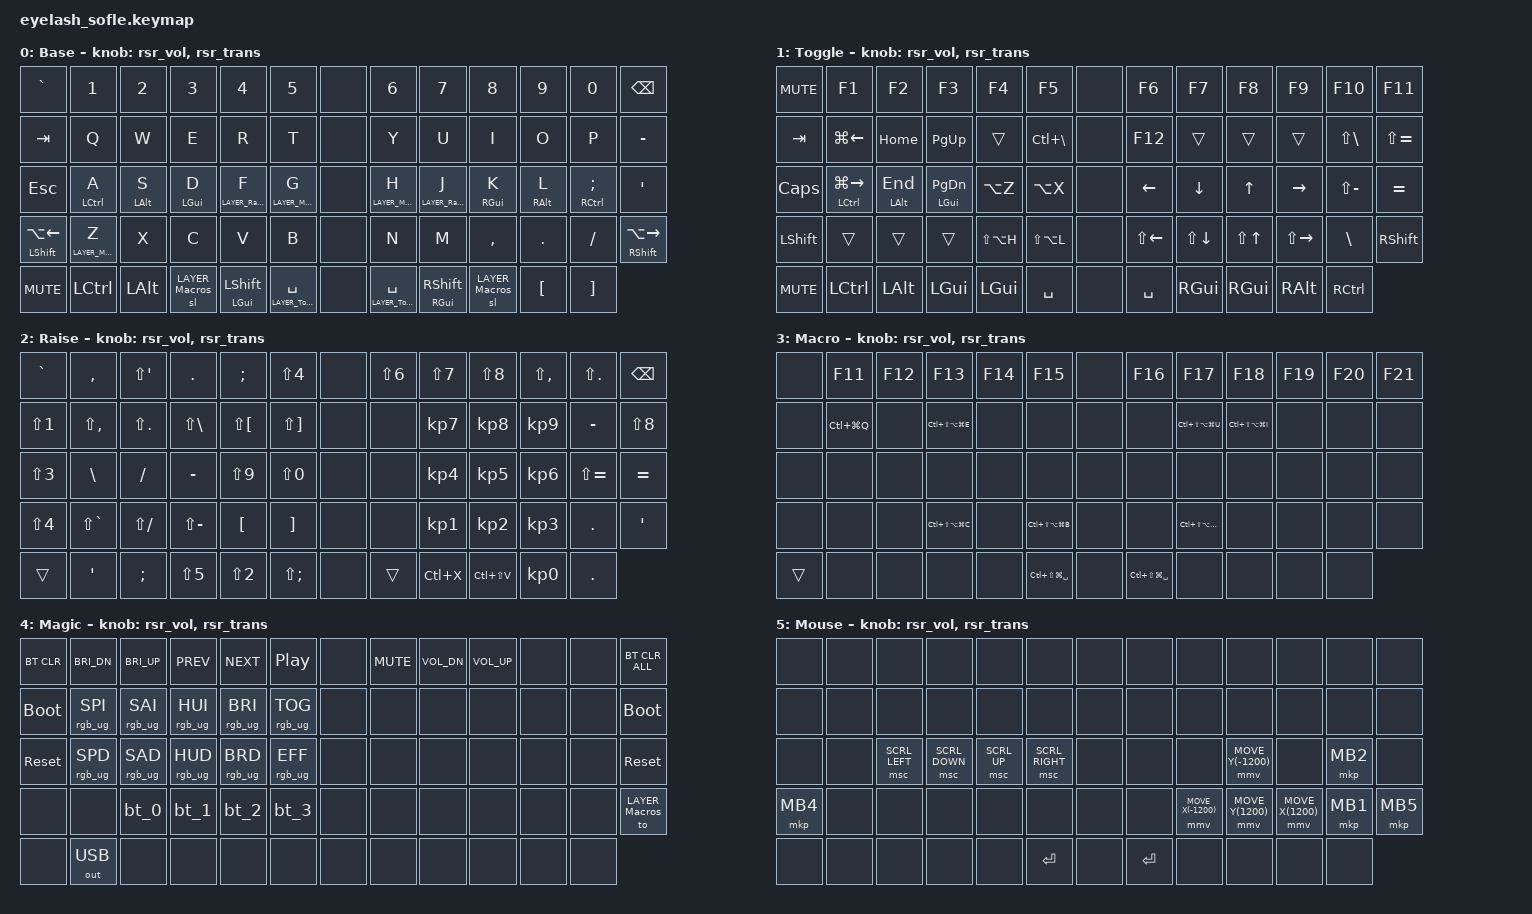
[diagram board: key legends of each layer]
#include <input/processors.dtsi>
#include <zephyr/dt-bindings/input/input-event-codes.h>
#include <behaviors.dtsi>
#include <dt-bindings/zmk/bt.h>
#include <dt-bindings/zmk/keys.h>
#include <dt-bindings/zmk/outputs.h>
#include <dt-bindings/zmk/pointing.h>
#include <dt-bindings/zmk/rgb.h>
#include <behaviors/runtime-sensor-rotate.dtsi>

/* Layer defines */
#define LAYER_Base 0
#define LAYER_Toggles 1
#define LAYER_Raise 2
#define LAYER_Macros 3
#define LAYER_Magic 4
#define LAYER_Mouse 5

/*
 * Sofle Eyelash key index reference (64 keys total):
 *
 * Row 0 (13):  0   1   2   3   4   5  |  6  |  7   8   9  10  11  12
 * Row 1 (13): 13  14  15  16  17  18  | 19  | 20  21  22  23  24  25
 * Row 2 (13): 26  27  28  29  30  31  | 32  | 33  34  35  36  37  38
 * Row 3 (13): 39  40  41  42  43  44  | 45  | 46  47  48  49  50  51
 * Row 4 (12): 52  53  54  55  56  57  | 58  | 59  60  61  62  63
 *                                 ENC  MOD  MOD  MOD  THM  THM  (inner)  THM  THM  MOD  MOD  MOD
 *
 * Indices 6, 19, 32, 45, 58 = inner column (unused, set to &none)
 */

/* ───────────────────────── Sofle Hardware Config ───────────────────────── */

/ {
    zip_scroll_scaler: zip_scroll_scaler {
        compatible = "zmk,input-processor-scaler";
        #input-processor-cells = <2>;
        type = <INPUT_EV_REL>;
        codes = <INPUT_REL_WHEEL INPUT_REL_HWHEEL>;
        track-remainders;
    };
};

&mmv_input_listener { input-processors = <&zip_xy_scaler 2 1>; };
&msc_input_listener { input-processors = <&zip_scroll_scaler 2 1>; };

&msc {
    acceleration-exponent = <0>;
    time-to-max-speed-ms = <0>;
    delay-ms = <0>;
};

&mmv {
    time-to-max-speed-ms = <400>;
    acceleration-exponent = <1>;
};

&soft_off { hold-time-ms = <2000>; };

/* ───────────────────────── Behaviors ───────────────────────── */

/ {
    behaviors {
        /* Encoder rotation behaviors (Sofle-specific) */
        rsr_vol: rsr_vol {
            compatible = "zmk,behavior-runtime-sensor-rotate";
            #sensor-binding-cells = <0>;
            tap-ms = <5>;
            cw-binding = <&kp C_VOL_UP>;
            ccw-binding = <&kp C_VOL_DN>;
        };

        rsr_trans: rsr_trans {
            compatible = "zmk,behavior-runtime-sensor-rotate";
            #sensor-binding-cells = <0>;
            tap-ms = <0>;
        };

        /* Optimized layer-tap — used for Magic/Z key (tap=Z, hold=Magic layer) */
        lt_optimized: layer_tap_optimized {
            compatible = "zmk,behavior-hold-tap";
            #binding-cells = <2>;
            flavor = "balanced";
            tapping-term-ms = <175>;
            quick-tap-ms = <150>;
            require-prior-idle-ms = <125>;
            bindings = <&mo>, <&kp>;
        };

        /* Sticky shift with quick release */
        skq: sticky_shift_quick {
            compatible = "zmk,behavior-sticky-key";
            #binding-cells = <1>;
            bindings = <&kp>;
            release-after-ms = <1000>;
            quick-release;
        };

        /* Hold = Cmd, Tap = Sticky Shift */
        cmd_sticky_shift: cmd_sticky_shift {
            compatible = "zmk,behavior-hold-tap";
            #binding-cells = <2>;
            flavor = "tap-preferred";
            tapping-term-ms = <200>;
            quick-tap-ms = <175>;
            bindings = <&kp>, <&skq>;
        };

        /* Left-hand home row mod — triggers only on right-hand key positions */
        HRM_Hold_Tap_lha: HRM_Hold_Tap_lha {
            compatible = "zmk,behavior-hold-tap";
            #binding-cells = <2>;
            tapping-term-ms = <280>;
            bindings = <&kp>, <&kp>;
            flavor = "balanced";
            quick-tap-ms = <175>;
            require-prior-idle-ms = <150>;
            hold-trigger-key-positions = <
                7  8  9  10 11 12
                20 21 22 23 24 25
                33 34 35 36 37 38
                46 47 48 49 50 51
                59 60 61 62 63
            >;
            hold-trigger-on-release;
        };

        /* Right-hand home row mod — triggers only on left-hand key positions */
        HRM_Hold_Tap_rh: HRM_Hold_Tap_rh {
            compatible = "zmk,behavior-hold-tap";
            #binding-cells = <2>;
            tapping-term-ms = <280>;
            bindings = <&kp>, <&kp>;
            flavor = "balanced";
            quick-tap-ms = <175>;
            require-prior-idle-ms = <150>;
            hold-trigger-key-positions = <
                0  1  2  3  4  5
                13 14 15 16 17 18
                26 27 28 29 30 31
                39 40 41 42 43 44
                52 53 54 55 56 57
            >;
            hold-trigger-on-release;
        };
    };
};

/* ───────────────────────── Macros ───────────────────────── */

/ {
    macros {
        /* Vim-style next/previous change (]c / [c) */
        next_change: next_change {
            label = "&NEXT_CHANGE";
            compatible = "zmk,behavior-macro";
            #binding-cells = <0>;
            bindings = <&macro_tap>, <&kp RBKT>, <&kp C>;
        };

        previous_change: previous_change {
            label = "&PREVIOUS_CHANGE";
            compatible = "zmk,behavior-macro";
            #binding-cells = <0>;
            bindings = <&macro_tap>, <&kp LBKT>, <&kp C>;
        };

        /* BT profile macros — switch to BLE output + select profile */
        bt_0: bt_0 {
            label = "BT_0";
            compatible = "zmk,behavior-macro";
            #binding-cells = <0>;
            bindings = <&out OUT_BLE>, <&bt BT_SEL 0>;
        };

        bt_1: bt_1 {
            label = "BT_1";
            compatible = "zmk,behavior-macro";
            #binding-cells = <0>;
            bindings = <&out OUT_BLE>, <&bt BT_SEL 1>;
        };

        bt_2: bt_2 {
            label = "BT_2";
            compatible = "zmk,behavior-macro";
            #binding-cells = <0>;
            bindings = <&out OUT_BLE>, <&bt BT_SEL 2>;
        };

        bt_3: bt_3 {
            label = "BT_3";
            compatible = "zmk,behavior-macro";
            #binding-cells = <0>;
            bindings = <&out OUT_BLE>, <&bt BT_SEL 3>;
        };
    };
};

/* ───────────────────────── Combos ───────────────────────── */

/ {
    combos {
        compatible = "zmk,combos";

        /* Right Enter: J + K */
        combo_RightEnt {
            key-positions = <34 35>;
            bindings = <&kp RET>;
        };

        /* Option + Backspace: D + F */
        combo_OptBackspace {
            key-positions = <29 30>;
            bindings = <&kp LA(BSPC)>;
        };

        /* From Go60 firmware: ESC + Spc */
        combo_ESC_Spc {
            key-positions = <26 57>;
            bindings = <&kp RET>;
        };
    };
};

/* ───────────────────────── Keymap ───────────────────────── */

/ {
    keymap {
        compatible = "zmk,keymap";

        /*
         * BASE LAYER
         * ┌──────┬──────┬──────┬──────┬──────┬──────┐ ┌──────┐ ┌──────┬──────┬──────┬──────┬──────┬──────┐
         * │  `   │  1   │  2   │  3   │  4   │  5   │ │      │ │  6   │  7   │  8   │  9   │  0   │ BSPC │
         * ├──────┼──────┼──────┼──────┼──────┼──────┤ │      │ ├──────┼──────┼──────┼──────┼──────┼──────┤
         * │ TAB  │  Q   │  W   │  E   │  R   │  T   │ │      │ │  Y   │  U   │  I   │  O   │  P   │  -   │
         * ├──────┼──────┼──────┼──────┼──────┼──────┤ │      │ ├──────┼──────┼──────┼──────┼──────┼──────┤
         * │ ESC  │Ctrl/A│Alt/S │Gui/D │  F   │  G   │ │      │ │  H   │  J   │Gui/K │Alt/L │Ctrl/;│  '   │
         * ├──────┼──────┼──────┼──────┼──────┼──────┤ │      │ ├──────┼──────┼──────┼──────┼──────┼──────┤
         * │Sft/⌥←│  Z   │  X   │  C   │  V   │  B   │ │      │ │  N   │  M   │  ,   │  .   │  /   │Sft/⌥→│
         * ├──────┼──────┼──────┼──────┼──────┼──────┤ │      │ ├──────┼──────┼──────┼──────┼──────┤
         * │C_MUTE│ Ctrl │ Alt  │Macros│Gui/Sf│ Spc  │ │      │ │ Spc  │Gui/Sf│Macros│  [   │  ]   │
         * └──────┴──────┴──────┴──────┴──────┴──────┘ └──────┘ └──────┴──────┴──────┴──────┴──────┘
         */
        layer_Base {
            bindings = <
&kp GRAVE           &kp N1                       &kp N2                    &kp N3                    &kp N4                        &kp N5                   &none  &kp N6                   &kp N7                        &kp N8                   &kp N9                   &kp N0                       &kp BSPC
&kp TAB             &kp Q                        &kp W                     &kp E                     &kp R                         &kp T                    &none  &kp Y                    &kp U                         &kp I                    &kp O                    &kp P                        &kp MINUS
&kp ESC             &HRM_Hold_Tap_lha LCTRL A    &HRM_Hold_Tap_lha LALT S  &HRM_Hold_Tap_lha LGUI D  &lt LAYER_Raise F             &lt LAYER_Mouse G        &none  &lt LAYER_Mouse H        &lt LAYER_Raise J             &HRM_Hold_Tap_rh RGUI K  &HRM_Hold_Tap_rh RALT L  &HRM_Hold_Tap_rh RCTRL SEMI  &kp SQT
&mt LSHFT LA(LEFT)  &lt_optimized LAYER_Magic Z  &kp X                     &kp C                     &kp V                         &kp B                    &none  &kp N                    &kp M                         &kp COMMA                &kp DOT                  &kp FSLH                     &mt RSHFT LA(RIGHT)
&kp C_MUTE          &kp LCTRL                    &kp LALT                  &sl LAYER_Macros          &cmd_sticky_shift LGUI LSHFT  &lt LAYER_Toggles SPACE  &none  &lt LAYER_Toggles SPACE  &cmd_sticky_shift RGUI RSHFT  &sl LAYER_Macros         &kp LBKT                 &kp RBKT
            >;
            sensor-bindings = <&rsr_vol &rsr_trans>;
            display-name = "Base";
        };

        /*
         * TOGGLES LAYER (Navigation + Function keys)
         * ┌──────┬──────┬──────┬──────┬──────┬──────┐ ┌──────┐ ┌──────┬──────┬──────┬──────┬──────┬──────┐
         * │C_MUTE│  F1  │  F2  │  F3  │  F4  │  F5  │ │      │ │  F6  │  F7  │  F8  │  F9  │ F10  │ F11  │
         * ├──────┼──────┼──────┼──────┼──────┼──────┤ │      │ ├──────┼──────┼──────┼──────┼──────┼──────┤
         * │ TAB  │  ⌘←  │ HOME │PG_UP │  ▽   │  ⌃\  │ │      │ │ F12  │  ▽   │  ▽   │  ▽   │  ⇧\  │  ⇧=  │
         * ├──────┼──────┼──────┼──────┼──────┼──────┤ │      │ ├──────┼──────┼──────┼──────┼──────┼──────┤
         * │ CAPS │Ctrl/⌘│Alt/EN│Gui/PG│  ⌥Z  │  ⌥X  │ │      │ │  ←   │  ↓   │  ↑   │  →   │  ⇧-  │  =   │
         * ├──────┼──────┼──────┼──────┼──────┼──────┤ │      │ ├──────┼──────┼──────┼──────┼──────┼──────┤
         * │ Sft  │  ▽   │  ▽   │  ▽   │ ⇧⌥H  │ ⇧⌥L  │ │      │ │  ⇧←  │  ⇧↓  │  ⇧↑  │  ⇧→  │  \   │ Sft  │
         * ├──────┼──────┼──────┼──────┼──────┼──────┤ │      │ ├──────┼──────┼──────┼──────┼──────┤
         * │C_MUTE│ Ctrl │ Alt  │ Gui  │ Gui  │ Spc  │ │      │ │ Spc  │ Gui  │ Gui  │ Alt  │ Ctrl │
         * └──────┴──────┴──────┴──────┴──────┴──────┘ └──────┘ └──────┴──────┴──────┴──────┴──────┘
         */
        layer_Toggles {
            bindings = <
&kp C_MUTE  &kp F1                             &kp F2                      &kp F3                        &kp F4         &kp F5         &none  &kp F6        &kp F7        &kp F8      &kp F9         &kp F10        &kp F11
&kp TAB     &kp LG(LEFT)                       &kp HOME                    &kp PG_UP                     &trans         &kp LC(BSLH)   &none  &kp F12       &trans        &trans      &trans         &kp LS(BSLH)   &kp LS(EQUAL)
&kp CAPS    &HRM_Hold_Tap_lha LCTRL LG(RIGHT)  &HRM_Hold_Tap_lha LALT END  &HRM_Hold_Tap_lha LGUI PG_DN  &kp LA(Z)      &kp LA(X)      &none  &kp LEFT      &kp DOWN      &kp UP      &kp RIGHT      &kp LS(MINUS)  &kp EQUAL
&kp LSHFT   &trans                             &trans                      &trans                        &kp LS(LA(H))  &kp LS(LA(L))  &none  &kp LS(LEFT)  &kp LS(DOWN)  &kp LS(UP)  &kp LS(RIGHT)  &kp BSLH       &kp RSHFT
&kp C_MUTE  &kp LCTRL                          &kp LALT                    &kp LGUI                      &kp LGUI       &kp SPACE      &none  &kp SPACE     &kp RGUI      &kp RGUI    &kp RALT       &kp RCTRL
            >;
            sensor-bindings = <&rsr_vol &rsr_trans>;
            display-name = "Toggle";
        };

        /*
         * RAISE LAYER (Symbols + Numpad)
         * ┌──────┬──────┬──────┬──────┬──────┬──────┐ ┌──────┐ ┌──────┬──────┬──────┬──────┬──────┬──────┐
         * │  `   │  ,   │  ⇧'  │  .   │  ;   │  ⇧4  │ │      │ │  ⇧6  │  ⇧7  │  ⇧8  │  ⇧,  │  ⇧.  │ BSPC │
         * ├──────┼──────┼──────┼──────┼──────┼──────┤ │      │ ├──────┼──────┼──────┼──────┼──────┼──────┤
         * │  ⇧1  │  ⇧,  │  ⇧.  │  ⇧\  │  ⇧[  │  ⇧]  │ │      │ │      │KP_N7 │KP_N8 │KP_N9 │  -   │  ⇧8  │
         * ├──────┼──────┼──────┼──────┼──────┼──────┤ │      │ ├──────┼──────┼──────┼──────┼──────┼──────┤
         * │  ⇧3  │  \   │  /   │  -   │  ⇧9  │  ⇧0  │ │      │ │      │KP_N4 │KP_N5 │KP_N6 │  ⇧=  │  =   │
         * ├──────┼──────┼──────┼──────┼──────┼──────┤ │      │ ├──────┼──────┼──────┼──────┼──────┼──────┤
         * │  ⇧4  │  ⇧`  │  ⇧/  │  ⇧-  │  [   │  ]   │ │      │ │      │KP_N1 │KP_N2 │KP_N3 │  .   │  '   │
         * ├──────┼──────┼──────┼──────┼──────┼──────┤ │      │ ├──────┼──────┼──────┼──────┼──────┤
         * │  ▽   │  '   │  ;   │  ⇧5  │  ⇧2  │  ⇧;  │ │      │ │  ▽   │  ⌃X  │ ⌃⇧V  │KP_N0 │  .   │
         * └──────┴──────┴──────┴──────┴──────┴──────┘ └──────┘ └──────┴──────┴──────┴──────┴──────┘
         */
        layer_Raise {
            bindings = <
&kp GRAVE   &kp COMMA      &kp LS(SQT)   &kp DOT        &kp SEMI      &kp LS(N4)    &none  &kp LS(N6)  &kp LS(N7)  &kp LS(N8)     &kp LS(COMMA)  &kp LS(DOT)    &kp BSPC
&kp LS(N1)  &kp LS(COMMA)  &kp LS(DOT)   &kp LS(BSLH)   &kp LS(LBKT)  &kp LS(RBKT)  &none  &none       &kp KP_N7   &kp KP_N8      &kp KP_N9      &kp MINUS      &kp LS(N8)
&kp LS(N3)  &kp BSLH       &kp FSLH      &kp MINUS      &kp LS(N9)    &kp LS(N0)    &none  &none       &kp KP_N4   &kp KP_N5      &kp KP_N6      &kp LS(EQUAL)  &kp EQUAL
&kp LS(N4)  &kp LS(GRAVE)  &kp LS(FSLH)  &kp LS(MINUS)  &kp LBKT      &kp RBKT      &none  &none       &kp KP_N1   &kp KP_N2      &kp KP_N3      &kp DOT        &kp SQT
&trans      &kp SQT        &kp SEMI      &kp LS(N5)     &kp LS(N2)    &kp LS(SEMI)  &none  &trans      &kp LC(X)   &kp LC(LS(V))  &kp KP_N0      &kp DOT
            >;
            sensor-bindings = <&rsr_vol &rsr_trans>;
            display-name = "Raise";
        };

        /*
         * MACROS LAYER (App shortcuts)
         * ┌──────┬──────┬──────┬──────┬──────┬──────┐ ┌──────┐ ┌──────┬──────┬──────┬──────┬──────┬──────┐
         * │      │ F11  │ F12  │ F13  │ F14  │ F15  │ │      │ │ F16  │ F17  │ F18  │ F19  │ F20  │ F21  │
         * ├──────┼──────┼──────┼──────┼──────┼──────┤ │      │ ├──────┼──────┼──────┼──────┼──────┼──────┤
         * │      │ ⌃⌘Q  │      │⌃⇧⌥⌘E │      │      │ │      │ │      │⌃⇧⌥⌘U │⌃⇧⌥⌘I │      │      │      │
         * ├──────┼──────┼──────┼──────┼──────┼──────┤ │      │ ├──────┼──────┼──────┼──────┼──────┼──────┤
         * │      │      │      │      │      │      │ │      │ │      │      │      │      │      │      │
         * ├──────┼──────┼──────┼──────┼──────┼──────┤ │      │ ├──────┼──────┼──────┼──────┼──────┼──────┤
         * │      │      │      │⌃⇧⌥⌘C │      │⌃⇧⌥⌘B │ │      │ │      │⌃⇧⌥⌘M │      │      │      │      │
         * ├──────┼──────┼──────┼──────┼──────┼──────┤ │      │ ├──────┼──────┼──────┼──────┼──────┤
         * │  ▽   │      │      │      │      │⌃⇧⌘Spc│ │      │ │⌃⇧⌘Spc│      │      │      │      │
         * └──────┴──────┴──────┴──────┴──────┴──────┘ └──────┘ └──────┴──────┴──────┴──────┴──────┘
         */
        layer_Macros {
            bindings = <
&none   &kp F11        &kp F12  &kp F13                &kp F14  &kp F15                &none  &kp F16                &kp F17                &kp F18                &kp F19  &kp F20  &kp F21
&none   &kp LC(LG(Q))  &none    &kp LC(LS(LA(LG(E))))  &none    &none                  &none  &none                  &kp LC(LS(LA(LG(U))))  &kp LC(LS(LA(LG(I))))  &none    &none    &none
&none   &none          &none    &none                  &none    &none                  &none  &none                  &none                  &none                  &none    &none    &none
&none   &none          &none    &kp LC(LS(LA(LG(C))))  &none    &kp LC(LS(LA(LG(B))))  &none  &none                  &kp LC(LS(LA(LG(M))))  &none                  &none    &none    &none
&trans  &none          &none    &none                  &none    &kp LC(LS(LG(SPACE)))  &none  &kp LC(LS(LG(SPACE)))  &none                  &none                  &none    &none
            >;
            sensor-bindings = <&rsr_vol &rsr_trans>;
            display-name = "Macro";
        };

        /*
         * MAGIC LAYER (System, BT, RGB)
         * Activated by holding Z on Base layer
         * ┌──────┬──────┬──────┬──────┬──────┬──────┐ ┌──────┐ ┌──────┬──────┬──────┬──────┬──────┬──────┐
         * │BT_CLR│C_BRI_│C_BRI_│C_PREV│C_NEXT│ C_PP │ │      │ │C_MUTE│C_VOL_│C_VOL_│      │      │BT_CLR│
         * ├──────┼──────┼──────┼──────┼──────┼──────┤ │      │ ├──────┼──────┼──────┼──────┼──────┼──────┤
         * │bootlo│RGB_SP│RGB_SA│RGB_HU│RGB_BR│RGB_TO│ │      │ │      │      │      │      │      │bootlo│
         * ├──────┼──────┼──────┼──────┼──────┼──────┤ │      │ ├──────┼──────┼──────┼──────┼──────┼──────┤
         * │sys_re│RGB_SP│RGB_SA│RGB_HU│RGB_BR│RGB_EF│ │      │ │      │      │      │      │      │sys_re│
         * ├──────┼──────┼──────┼──────┼──────┼──────┤ │      │ ├──────┼──────┼──────┼──────┼──────┼──────┤
         * │      │      │ bt_0 │ bt_1 │ bt_2 │ bt_3 │ │      │ │      │      │      │      │      │Macros│
         * ├──────┼──────┼──────┼──────┼──────┼──────┤ │      │ ├──────┼──────┼──────┼──────┼──────┤
         * │      │OUT_US│      │      │      │      │ │      │ │      │      │      │      │      │
         * └──────┴──────┴──────┴──────┴──────┴──────┘ └──────┘ └──────┴──────┴──────┴──────┴──────┘
         */
        layer_Magic {
            bindings = <
&bt BT_CLR   &kp C_BRI_DN     &kp C_BRI_UP     &kp C_PREV       &kp C_NEXT       &kp C_PP         &none  &kp C_MUTE  &kp C_VOL_DN  &kp C_VOL_UP  &none  &none  &bt BT_CLR_ALL
&bootloader  &rgb_ug RGB_SPI  &rgb_ug RGB_SAI  &rgb_ug RGB_HUI  &rgb_ug RGB_BRI  &rgb_ug RGB_TOG  &none  &none       &none         &none         &none  &none  &bootloader
&sys_reset   &rgb_ug RGB_SPD  &rgb_ug RGB_SAD  &rgb_ug RGB_HUD  &rgb_ug RGB_BRD  &rgb_ug RGB_EFF  &none  &none       &none         &none         &none  &none  &sys_reset
&none        &none            &bt_0            &bt_1            &bt_2            &bt_3            &none  &none       &none         &none         &none  &none  &to LAYER_Macros
&none        &out OUT_USB     &none            &none            &none            &none            &none  &none       &none         &none         &none  &none
            >;
            sensor-bindings = <&rsr_vol &rsr_trans>;
            display-name = "Magic";
        };
        /*
         * MOUSE LAYER (generated from Go60 firmware)
         * ┌──────┬──────┬──────┬──────┬──────┬──────┐ ┌──────┐ ┌──────┬──────┬──────┬──────┬──────┬──────┐
         * │      │      │      │      │      │      │ │      │ │      │      │      │      │      │      │
         * ├──────┼──────┼──────┼──────┼──────┼──────┤ │      │ ├──────┼──────┼──────┼──────┼──────┼──────┤
         * │      │      │      │      │      │      │ │      │ │      │      │      │      │      │      │
         * ├──────┼──────┼──────┼──────┼──────┼──────┤ │      │ ├──────┼──────┼──────┼──────┼──────┼──────┤
         * │      │      │SCRL_L│SCRL_D│SCRL_U│SCRL_R│ │      │ │      │      │MOVE_Y│      │ MB2  │      │
         * ├──────┼──────┼──────┼──────┼──────┼──────┤ │      │ ├──────┼──────┼──────┼──────┼──────┼──────┤
         * │ MB4  │      │      │      │      │      │ │      │ │      │MOVE_X│MOVE_Y│MOVE_X│ MB1  │ MB5  │
         * ├──────┼──────┼──────┼──────┼──────┼──────┤ │      │ ├──────┼──────┼──────┼──────┼──────┤
         * │      │      │      │      │      │ Ent  │ │      │ │ Ent  │      │      │      │      │
         * └──────┴──────┴──────┴──────┴──────┴──────┘ └──────┘ └──────┴──────┴──────┴──────┴──────┘
         */
        layer_Mouse {
            bindings = <
&none     &none  &none           &none           &none         &none            &none  &none    &none               &none               &none              &none     &none
&none     &none  &none           &none           &none         &none            &none  &none    &none               &none               &none              &none     &none
&none     &none  &msc SCRL_LEFT  &msc SCRL_DOWN  &msc SCRL_UP  &msc SCRL_RIGHT  &none  &none    &none               &mmv MOVE_Y(-1200)  &none              &mkp MB2  &none
&mkp MB4  &none  &none           &none           &none         &none            &none  &none    &mmv MOVE_X(-1200)  &mmv MOVE_Y(1200)   &mmv MOVE_X(1200)  &mkp MB1  &mkp MB5
&none     &none  &none           &none           &none         &kp RET          &none  &kp RET  &none               &none               &none              &none
            >;
            sensor-bindings = <&rsr_vol &rsr_trans>;
            display-name = "Mouse";
        };

    };
};
